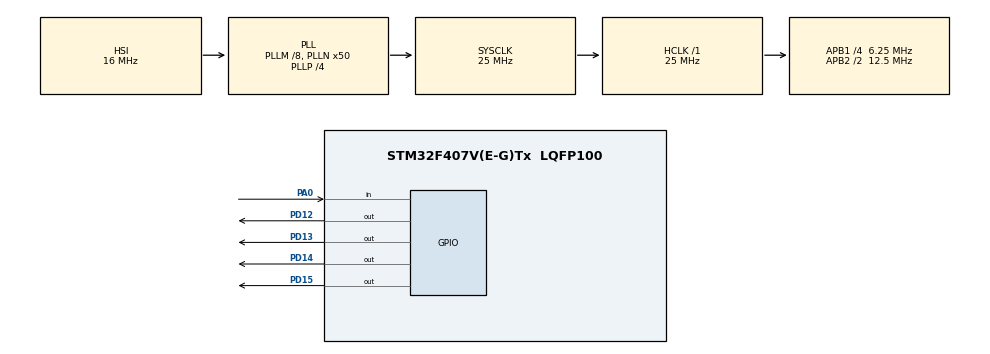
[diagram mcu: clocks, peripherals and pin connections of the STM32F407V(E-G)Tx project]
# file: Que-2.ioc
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Mcu.Family=STM32F4
Mcu.Name=STM32F407V(E-G)Tx
Mcu.Package=LQFP100
NVIC.PriorityGroup=NVIC_PRIORITYGROUP_0
PA0-WKUP.Signal=GPIO_Input
PD12.Signal=GPIO_Output
PD13.Signal=GPIO_Output
PD14.Signal=GPIO_Output
PD15.Signal=GPIO_Output
ProjectManager.HeapSize=0x200
ProjectManager.StackSize=0x400
ProjectManager.TargetToolchain=STM32CubeIDE
RCC.48MHZClocksFreq_Value=14285714.285714285
RCC.AHBFreq_Value=25000000
RCC.APB1CLKDivider=RCC_HCLK_DIV4
RCC.APB1Freq_Value=6250000
RCC.APB1TimFreq_Value=12500000
RCC.APB2CLKDivider=RCC_HCLK_DIV2
RCC.APB2Freq_Value=12500000
RCC.APB2TimFreq_Value=25000000
RCC.CortexFreq_Value=25000000
RCC.HCLKFreq_Value=25000000
RCC.HSE_VALUE=8000000
RCC.HSI_VALUE=16000000
RCC.LSE_VALUE=32768
RCC.PLLM=8
RCC.PLLN=50
RCC.PLLP=RCC_PLLP_DIV4
RCC.PLLQ=7
RCC.SYSCLKFreq_VALUE=25000000
RCC.SYSCLKSource=RCC_SYSCLKSOURCE_PLLCLK
RCC.VCOOutputFreq_Value=100000000
board=STM32F407G-DISC1

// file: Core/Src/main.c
/* USER CODE BEGIN Header */
/**
  ******************************************************************************
  * @file           : main.c
  * @brief          : Main program body
  ******************************************************************************
  * @attention
  *
  * Copyright (c) 2026 STMicroelectronics.
  * All rights reserved.
  *
  * This software is licensed under terms that can be found in the LICENSE file
  * in the root directory of this software component.
  * If no LICENSE file comes with this software, it is provided AS-IS.
  *
  ******************************************************************************
  */
/* USER CODE END Header */
#include "main.h"

void SystemClock_Config(void);
static void MX_GPIO_Init(void);

int main(void)
{

  /* MCU Configuration--------------------------------------------------------*/

  /* Reset of all peripherals, Initializes the Flash interface and the Systick. */
  HAL_Init();

  /* Configure the system clock */
  SystemClock_Config();

  /* Initialize all configured peripherals */
  MX_GPIO_Init();

  /* Infinite loop */
  /* USER CODE BEGIN WHILE */
  int count = 0;
  while (1)
  {
	  if(HAL_GPIO_ReadPin(GPIOA, GPIO_PIN_0) == GPIO_PIN_SET){
		  count++;
		  HAL_Delay(250);
	  }
	  switch(count){
	  	  case 1:
	  		  HAL_GPIO_WritePin(GPIOD, GPIO_PIN_15, GPIO_PIN_RESET);
	  		  HAL_GPIO_WritePin(GPIOD, GPIO_PIN_12, GPIO_PIN_SET);
	  		  break;
	  	  case 2:
	  		  HAL_GPIO_WritePin(GPIOD, GPIO_PIN_12, GPIO_PIN_RESET);
	  		  HAL_GPIO_WritePin(GPIOD, GPIO_PIN_13, GPIO_PIN_SET);
	  		  break;
	  	  case 3:
	  		  HAL_GPIO_WritePin(GPIOD, GPIO_PIN_13, GPIO_PIN_RESET);
	  		  HAL_GPIO_WritePin(GPIOD, GPIO_PIN_14, GPIO_PIN_SET);
	  		  break;
	  	  case 4:
	  		  HAL_GPIO_WritePin(GPIOD, GPIO_PIN_14, GPIO_PIN_RESET);
	  		  HAL_GPIO_WritePin(GPIOD, GPIO_PIN_15, GPIO_PIN_SET);
	  		  count = 0;
	  		  break;

	  }
    /* USER CODE END WHILE */

  }
}

void SystemClock_Config(void)
{
  RCC_OscInitTypeDef RCC_OscInitStruct = {0};
  RCC_ClkInitTypeDef RCC_ClkInitStruct = {0};

  /** Configure the main internal regulator output voltage
  */
  __HAL_RCC_PWR_CLK_ENABLE();
  __HAL_PWR_VOLTAGESCALING_CONFIG(PWR_REGULATOR_VOLTAGE_SCALE1);

  /** Initializes the RCC Oscillators according to the specified parameters
  * in the RCC_OscInitTypeDef structure.
  */
  RCC_OscInitStruct.OscillatorType = RCC_OSCILLATORTYPE_HSI;
  RCC_OscInitStruct.HSIState = RCC_HSI_ON;
  RCC_OscInitStruct.HSICalibrationValue = RCC_HSICALIBRATION_DEFAULT;
  RCC_OscInitStruct.PLL.PLLState = RCC_PLL_ON;
  RCC_OscInitStruct.PLL.PLLSource = RCC_PLLSOURCE_HSI;
  RCC_OscInitStruct.PLL.PLLM = 8;
  RCC_OscInitStruct.PLL.PLLN = 50;
  RCC_OscInitStruct.PLL.PLLP = RCC_PLLP_DIV4;
  RCC_OscInitStruct.PLL.PLLQ = 7;
  if (HAL_RCC_OscConfig(&RCC_OscInitStruct) != HAL_OK)
  {
    Error_Handler();
  }

  /** Initializes the CPU, AHB and APB buses clocks
  */
  RCC_ClkInitStruct.ClockType = RCC_CLOCKTYPE_HCLK|RCC_CLOCKTYPE_SYSCLK
                              |RCC_CLOCKTYPE_PCLK1|RCC_CLOCKTYPE_PCLK2;
  RCC_ClkInitStruct.SYSCLKSource = RCC_SYSCLKSOURCE_PLLCLK;
  RCC_ClkInitStruct.AHBCLKDivider = RCC_SYSCLK_DIV1;
  RCC_ClkInitStruct.APB1CLKDivider = RCC_HCLK_DIV4;
  RCC_ClkInitStruct.APB2CLKDivider = RCC_HCLK_DIV2;

  if (HAL_RCC_ClockConfig(&RCC_ClkInitStruct, FLASH_LATENCY_0) != HAL_OK)
  {
    Error_Handler();
  }
}

static void MX_GPIO_Init(void)
{
  GPIO_InitTypeDef GPIO_InitStruct = {0};

  /* GPIO Ports Clock Enable */
  __HAL_RCC_GPIOA_CLK_ENABLE();
  __HAL_RCC_GPIOD_CLK_ENABLE();

  /*Configure GPIO pin Output Level */
  HAL_GPIO_WritePin(GPIOD, GPIO_PIN_12|GPIO_PIN_13|GPIO_PIN_14|GPIO_PIN_15, GPIO_PIN_RESET);

  /*Configure GPIO pin : PA0 */
  GPIO_InitStruct.Pin = GPIO_PIN_0;
  GPIO_InitStruct.Mode = GPIO_MODE_INPUT;
  GPIO_InitStruct.Pull = GPIO_NOPULL;
  HAL_GPIO_Init(GPIOA, &GPIO_InitStruct);

  /*Configure GPIO pins : PD12 PD13 PD14 PD15 */
  GPIO_InitStruct.Pin = GPIO_PIN_12|GPIO_PIN_13|GPIO_PIN_14|GPIO_PIN_15;
  GPIO_InitStruct.Mode = GPIO_MODE_OUTPUT_PP;
  GPIO_InitStruct.Pull = GPIO_NOPULL;
  GPIO_InitStruct.Speed = GPIO_SPEED_FREQ_LOW;
  HAL_GPIO_Init(GPIOD, &GPIO_InitStruct);

}

void Error_Handler(void)
{
  __disable_irq();
  while (1)
  {
  }
}
